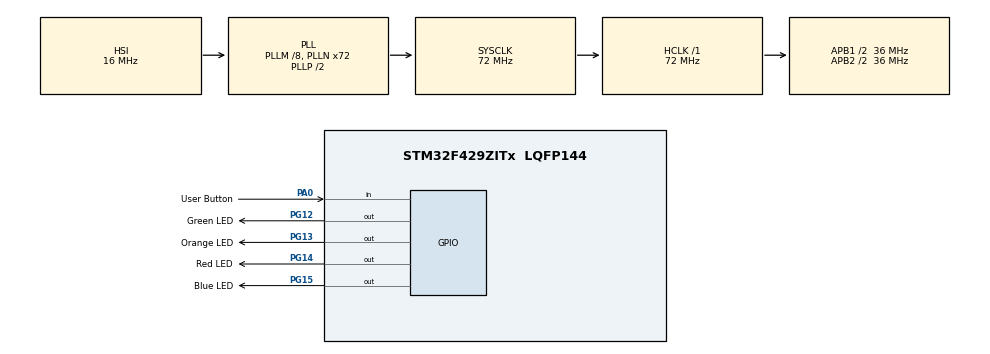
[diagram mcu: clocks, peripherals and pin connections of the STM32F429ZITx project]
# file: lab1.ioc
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Mcu.Family=STM32F4
Mcu.Name=STM32F429ZITx
Mcu.Package=LQFP144
NVIC.PriorityGroup=NVIC_PRIORITYGROUP_4
PA0/WKUP.GPIO_Label=User Button
PA0/WKUP.Signal=GPIO_Input
PG12.GPIO_Label=Green LED
PG12.Signal=GPIO_Output
PG13.GPIO_Label=Orange LED
PG13.Signal=GPIO_Output
PG14.GPIO_Label=Red LED
PG14.Signal=GPIO_Output
PG15.GPIO_Label=Blue LED
PG15.Signal=GPIO_Output
ProjectManager.HeapSize=0x200
ProjectManager.StackSize=0x400
ProjectManager.TargetToolchain=STM32CubeIDE
RCC.48MHZClocksFreq_Value=48000000
RCC.AHBFreq_Value=72000000
RCC.APB1CLKDivider=RCC_HCLK_DIV2
RCC.APB1Freq_Value=36000000
RCC.APB1TimFreq_Value=72000000
RCC.APB2CLKDivider=RCC_HCLK_DIV2
RCC.APB2Freq_Value=36000000
RCC.APB2TimFreq_Value=72000000
RCC.CortexFreq_Value=72000000
RCC.HCLKFreq_Value=72000000
RCC.HSE_VALUE=8000000
RCC.HSI_VALUE=16000000
RCC.LSE_VALUE=32768
RCC.PLLM=8
RCC.PLLN=72
RCC.PLLQ=3
RCC.PLLSAIN=50
RCC.SYSCLKFreq_VALUE=72000000
RCC.SYSCLKSource=RCC_SYSCLKSOURCE_PLLCLK
RCC.VCOOutputFreq_Value=144000000
board=STM32F429I-DISC1

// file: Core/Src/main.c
/* USER CODE BEGIN Header */
/**
  ******************************************************************************
  * @file           : main.c
  * @brief          : Main program body
  ******************************************************************************
  * @attention
  *
  * Copyright (c) 2026 STMicroelectronics.
  * All rights reserved.
  *
  * This software is licensed under terms that can be found in the LICENSE file
  * in the root directory of this software component.
  * If no LICENSE file comes with this software, it is provided AS-IS.
  *
  ******************************************************************************
  */
/* USER CODE END Header */
#include "main.h"

/* USER CODE BEGIN PV */

uint32_t paskutinisRaudonas = 0;
uint32_t paskutinisZalias = 0;
uint32_t zalioIntervalas = 2000; // Pradinis 1s (pagal užduotį)
uint8_t mygtukoBlokuote = 0;   // Fiksuoti paspaudimą

/* USER CODE END PV */

void SystemClock_Config(void);
static void MX_GPIO_Init(void);

int main(void)
{

  /* MCU Configuration--------------------------------------------------------*/

  /* Reset of all peripherals, Initializes the Flash interface and the Systick. */
  HAL_Init();

  /* Configure the system clock */
  SystemClock_Config();

  /* Initialize all configured peripherals */
  MX_GPIO_Init();

  /* Infinite loop */
  /* USER CODE BEGIN WHILE */
  while (1)
    {
      uint32_t dabar = HAL_GetTick();

      // --- 1. MYGTUKO VALDYMAS (Papildoma dalis) ---
      // Naudojame PA0. Jei CubeMX pavadinai "User_Button", gali naudoti User_Button_GPIO_Port
      if (HAL_GPIO_ReadPin(GPIOA, GPIO_PIN_0) == GPIO_PIN_SET)
      {
        if (mygtukoBlokuote == 0)
        {
          // Užduotis: Užsidega žalias (jis liks degti ir tada pradės mirksėti)
          HAL_GPIO_WritePin(GPIOG, GPIO_PIN_13, GPIO_PIN_SET);

          // Užduotis: Didiname mirksėjimo intervalą 1 sekunde
          zalioIntervalas += 1000;

          // Apribojimas, kad nebūtų begalinis ilgėjimas (nebūtina, bet patartina)
          if (zalioIntervalas > 5000) zalioIntervalas = 1000;

          mygtukoBlokuote = 1;
        }
      }
      else
      {
        mygtukoBlokuote = 0;
      }

      // --- 2. RAUDONAS LED (Mirksi kas 1 sekundę) ---
      // Atitinka dvejetainį skaičiavimą (jaunesnysis bitas)
      if (dabar - paskutinisRaudonas >= 1000)
      {
        HAL_GPIO_TogglePin(GPIOG, GPIO_PIN_14); // Raudonas (PG14)
        paskutinisRaudonas = dabar;
      }

      // --- 3. ŽALIAS LED (Mirksi kas parinktą intervalą) ---
      // Atitinka dvejetainį skaičiavimą, kai intervalas = 2000ms
      if (dabar - paskutinisZalias >= zalioIntervalas)
      {
        HAL_GPIO_TogglePin(GPIOG, GPIO_PIN_13); // Žalias (PG13)
        paskutinisZalias = dabar;
      }
    /* USER CODE END WHILE */

  }
}

void SystemClock_Config(void)
{
  RCC_OscInitTypeDef RCC_OscInitStruct = {0};
  RCC_ClkInitTypeDef RCC_ClkInitStruct = {0};

  /** Configure the main internal regulator output voltage
  */
  __HAL_RCC_PWR_CLK_ENABLE();
  __HAL_PWR_VOLTAGESCALING_CONFIG(PWR_REGULATOR_VOLTAGE_SCALE3);

  /** Initializes the RCC Oscillators according to the specified parameters
  * in the RCC_OscInitTypeDef structure.
  */
  RCC_OscInitStruct.OscillatorType = RCC_OSCILLATORTYPE_HSI;
  RCC_OscInitStruct.HSIState = RCC_HSI_ON;
  RCC_OscInitStruct.HSICalibrationValue = RCC_HSICALIBRATION_DEFAULT;
  RCC_OscInitStruct.PLL.PLLState = RCC_PLL_ON;
  RCC_OscInitStruct.PLL.PLLSource = RCC_PLLSOURCE_HSI;
  RCC_OscInitStruct.PLL.PLLM = 8;
  RCC_OscInitStruct.PLL.PLLN = 72;
  RCC_OscInitStruct.PLL.PLLP = RCC_PLLP_DIV2;
  RCC_OscInitStruct.PLL.PLLQ = 3;
  if (HAL_RCC_OscConfig(&RCC_OscInitStruct) != HAL_OK)
  {
    Error_Handler();
  }

  /** Initializes the CPU, AHB and APB buses clocks
  */
  RCC_ClkInitStruct.ClockType = RCC_CLOCKTYPE_HCLK|RCC_CLOCKTYPE_SYSCLK
                              |RCC_CLOCKTYPE_PCLK1|RCC_CLOCKTYPE_PCLK2;
  RCC_ClkInitStruct.SYSCLKSource = RCC_SYSCLKSOURCE_PLLCLK;
  RCC_ClkInitStruct.AHBCLKDivider = RCC_SYSCLK_DIV1;
  RCC_ClkInitStruct.APB1CLKDivider = RCC_HCLK_DIV2;
  RCC_ClkInitStruct.APB2CLKDivider = RCC_HCLK_DIV2;

  if (HAL_RCC_ClockConfig(&RCC_ClkInitStruct, FLASH_LATENCY_2) != HAL_OK)
  {
    Error_Handler();
  }
}

static void MX_GPIO_Init(void)
{
  GPIO_InitTypeDef GPIO_InitStruct = {0};

  /* GPIO Ports Clock Enable */
  __HAL_RCC_GPIOA_CLK_ENABLE();
  __HAL_RCC_GPIOG_CLK_ENABLE();

  /*Configure GPIO pin Output Level */
  HAL_GPIO_WritePin(GPIOG, Green_LED_Pin|Orange_LED_Pin|Red_LED_Pin|Blue_LED_Pin, GPIO_PIN_RESET);

  /*Configure GPIO pin : User_Button_Pin */
  GPIO_InitStruct.Pin = User_Button_Pin;
  GPIO_InitStruct.Mode = GPIO_MODE_INPUT;
  GPIO_InitStruct.Pull = GPIO_NOPULL;
  HAL_GPIO_Init(User_Button_GPIO_Port, &GPIO_InitStruct);

  /*Configure GPIO pins : Green_LED_Pin Orange_LED_Pin Red_LED_Pin Blue_LED_Pin */
  GPIO_InitStruct.Pin = Green_LED_Pin|Orange_LED_Pin|Red_LED_Pin|Blue_LED_Pin;
  GPIO_InitStruct.Mode = GPIO_MODE_OUTPUT_PP;
  GPIO_InitStruct.Pull = GPIO_NOPULL;
  GPIO_InitStruct.Speed = GPIO_SPEED_FREQ_LOW;
  HAL_GPIO_Init(GPIOG, &GPIO_InitStruct);

}

void Error_Handler(void)
{
  __disable_irq();
  while (1)
  {
  }
}
